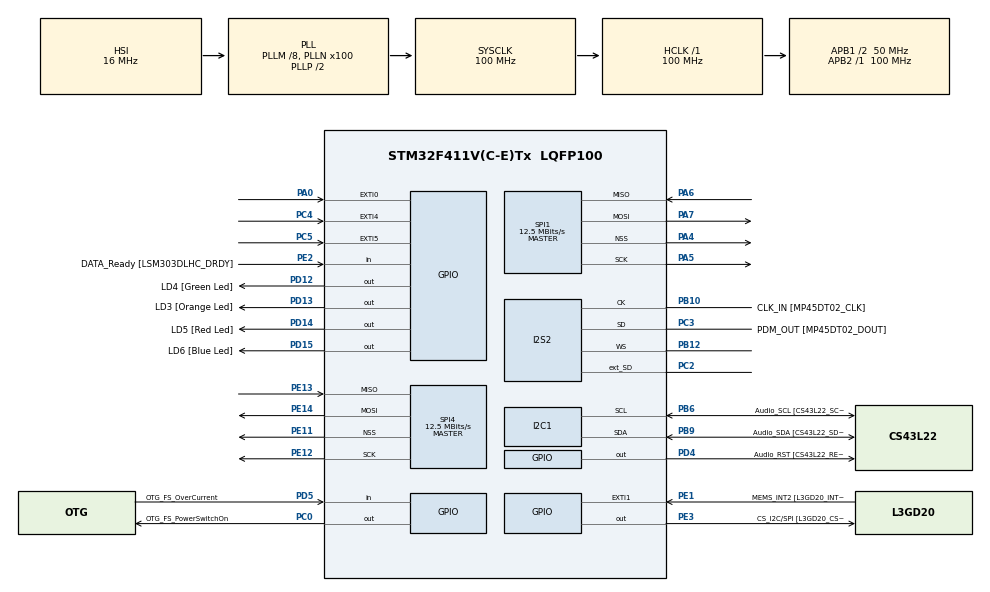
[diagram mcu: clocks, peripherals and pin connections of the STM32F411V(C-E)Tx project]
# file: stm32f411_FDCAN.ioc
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I2S2.AudioFreq=I2S_AUDIOFREQ_96K
I2S2.ErrorAudioFreq=0.15 %
I2S2.FullDuplexMode=I2S_FULLDUPLEXMODE_ENABLE
I2S2.Instance=SPI$Index
I2S2.RealAudioFreq=96.153 KHz
I2S2.VirtualMode=I2S_MODE_MASTER
Mcu.Family=STM32F4
Mcu.Name=STM32F411V(C-E)Tx
Mcu.Package=LQFP100
NVIC.EXTI0_IRQn=true\:0\:0\:false\:false\:true\:true\:true\:true
NVIC.EXTI9_5_IRQn=true\:0\:0\:false\:false\:true\:true\:true\:true
NVIC.PriorityGroup=NVIC_PRIORITYGROUP_0
NVIC.SPI1_IRQn=true\:0\:0\:false\:false\:true\:true\:true\:true
NVIC.SPI4_IRQn=true\:0\:0\:false\:false\:true\:true\:true\:true
NVIC.TIM1_TRG_COM_TIM11_IRQn=true\:0\:0\:false\:false\:true\:true\:true\:true
NVIC.TIM1_UP_TIM10_IRQn=true\:0\:0\:false\:false\:true\:true\:true\:true
NVIC.TIM4_IRQn=true\:0\:0\:false\:false\:true\:true\:true\:true
PA0-WKUP.GPIO_ModeDefaultEXTI=GPIO_MODE_IT_RISING_FALLING
PA0-WKUP.GPIO_PuPd=GPIO_NOPULL
PA0-WKUP.Signal=GPXTI0
PA10.GPIO_Label=OTG_FS_ID
PA10.Signal=USB_OTG_FS_ID
PA11.GPIO_Label=OTG_FS_DM
PA11.Signal=USB_OTG_FS_DM
PA12.GPIO_Label=OTG_FS_DP
PA12.Signal=USB_OTG_FS_DP
PA13.GPIO_Label=SWDIO
PA13.Mode=Serial_Wire
PA13.Signal=SYS_JTMS-SWDIO
PA14.GPIO_Label=SWCLK
PA14.Mode=Serial_Wire
PA14.Signal=SYS_JTCK-SWCLK
PA4.Mode=NSS_Signal_Hard_Output
PA4.Signal=SPI1_NSS
PA5.Mode=Full_Duplex_Master
PA5.Signal=SPI1_SCK
PA6.Mode=Full_Duplex_Master
PA6.Signal=SPI1_MISO
PA7.Mode=Full_Duplex_Master
PA7.Signal=SPI1_MOSI
PA9.GPIO_Label=VBUS_FS
PA9.Signal=USB_OTG_FS_VBUS
PB10.GPIO_Label=CLK_IN [MP45DT02_CLK]
PB10.Mode=Full_Duplex_Master
PB10.Signal=I2S2_CK
PB12.Mode=Full_Duplex_Master
PB12.Signal=I2S2_WS
PB3.GPIO_Label=SWO
PB3.Signal=SYS_JTDO-SWO
PB6.GPIO_Label=Audio_SCL [CS43L22_SCL]
PB6.GPIO_Mode=GPIO_MODE_AF_OD
PB6.GPIO_Pu=GPIO_PULLUP
PB6.GPIO_PuPd=GPIO_NOPULL
PB6.GPIO_Speed=GPIO_SPEED_FREQ_LOW
PB6.Mode=I2C
PB6.Signal=I2C1_SCL
PB9.GPIO_Label=Audio_SDA [CS43L22_SDA]
PB9.GPIO_Mode=GPIO_MODE_AF_OD
PB9.GPIO_Pu=GPIO_PULLUP
PB9.GPIO_PuPd=GPIO_NOPULL
PB9.GPIO_Speed=GPIO_SPEED_FREQ_LOW
PB9.Mode=I2C
PB9.Signal=I2C1_SDA
PC0.GPIO_Label=OTG_FS_PowerSwitchOn
PC0.PinState=GPIO_PIN_SET
PC0.Signal=GPIO_Output
PC10.GPIO_Label=I2S3_SCK [CS43L22_SCLK]
PC10.GPIO_Mode=GPIO_MODE_AF_PP
PC10.GPIO_PuPd=GPIO_NOPULL
PC10.GPIO_Speed=GPIO_SPEED_FREQ_LOW
PC10.Signal=I2S3_CK
PC12.GPIO_Label=I2S3_SD [CS43L22_SDIN]
PC12.GPIO_Mode=GPIO_MODE_AF_PP
PC12.GPIO_PuPd=GPIO_NOPULL
PC12.GPIO_Speed=GPIO_SPEED_FREQ_LOW
PC12.Signal=I2S3_SD
PC14-OSC32_IN.GPIO_Label=PC14-OSC32_IN
PC14-OSC32_IN.Signal=RCC_OSC32_IN
PC15-OSC32_OUT.GPIO_Label=PC15-OSC32_OUT
PC15-OSC32_OUT.Signal=RCC_OSC32_OUT
PC2.Mode=Full_Duplex_Master
PC2.Signal=I2S2_ext_SD
PC3.GPIO_Label=PDM_OUT [MP45DT02_DOUT]
PC3.Mode=Full_Duplex_Master
PC3.Signal=I2S2_SD
PC4.Signal=GPXTI4
PC5.GPIO_ModeDefaultEXTI=GPIO_MODE_IT_FALLING
PC5.Signal=GPXTI5
PC7.GPIO_Label=I2S3_MCK [CS43L22_MCLK]
PC7.GPIO_Mode=GPIO_MODE_AF_PP
PC7.GPIO_PuPd=GPIO_NOPULL
PC7.GPIO_Speed=GPIO_SPEED_FREQ_LOW
PC7.Signal=I2S3_MCK
PD12.GPIO_Label=LD4 [Green Led]
PD12.GPIO_PuPd=GPIO_NOPULL
PD12.GPIO_Speed=GPIO_SPEED_FREQ_LOW
PD12.Signal=GPIO_Output
PD13.GPIO_Label=LD3 [Orange Led]
PD13.GPIO_PuPd=GPIO_NOPULL
PD13.GPIO_Speed=GPIO_SPEED_FREQ_LOW
PD13.Signal=GPIO_Output
PD14.GPIO_Label=LD5 [Red Led]
PD14.GPIO_PuPd=GPIO_NOPULL
PD14.GPIO_Speed=GPIO_SPEED_FREQ_LOW
PD14.Signal=GPIO_Output
PD15.GPIO_Label=LD6 [Blue Led]
PD15.GPIO_PuPd=GPIO_NOPULL
PD15.GPIO_Speed=GPIO_SPEED_FREQ_LOW
PD15.Signal=GPIO_Output
PD4.GPIO_Label=Audio_RST [CS43L22_RESET]
PD4.Signal=GPIO_Output
PD5.GPIO_Label=OTG_FS_OverCurrent
PD5.Signal=GPIO_Input
PE1.GPIO_Label=MEMS_INT2 [L3GD20_INT2]
PE1.GPIO_ModeDefaultEXTI=GPIO_MODE_EVT_RISING
PE1.Signal=GPXTI1
PE11.Mode=NSS_Signal_Hard_Output
PE11.Signal=SPI4_NSS
PE12.Mode=Full_Duplex_Master
PE12.Signal=SPI4_SCK
PE13.Mode=Full_Duplex_Master
PE13.Signal=SPI4_MISO
PE14.Mode=Full_Duplex_Master
PE14.Signal=SPI4_MOSI
PE2.GPIO_Label=DATA_Ready [LSM303DLHC_DRDY]
PE2.Signal=GPIO_Input
PE3.GPIO_Label=CS_I2C/SPI [L3GD20_CS_I2C/SPI]
PE3.Signal=GPIO_Output
PH0\ -\ OSC_IN.GPIO_Label=PH0-OSC_IN
PH0\ -\ OSC_IN.Signal=RCC_OSC_IN
PH1\ -\ OSC_OUT.GPIO_Label=PH1-OSC_OUT
PH1\ -\ OSC_OUT.Signal=RCC_OSC_OUT
ProjectManager.HeapSize=0x200
ProjectManager.StackSize=0x400
ProjectManager.TargetToolchain=STM32CubeIDE
RCC.48MHZClocksFreq_Value=25000000
RCC.AHBFreq_Value=100000000
RCC.APB1CLKDivider=RCC_HCLK_DIV2
RCC.APB1Freq_Value=50000000
RCC.APB1TimFreq_Value=100000000
RCC.APB2Freq_Value=100000000
RCC.APB2TimFreq_Value=100000000
RCC.CortexFreq_Value=100000000
RCC.HCLKFreq_Value=100000000
RCC.HSE_VALUE=8000000
RCC.HSI_VALUE=16000000
RCC.LSE_VALUE=32768
RCC.PLLI2SM=10
RCC.PLLI2SN=200
RCC.PLLM=8
RCC.PLLN=100
RCC.PLLQ=8
RCC.SYSCLKFreq_VALUE=100000000
RCC.SYSCLKSource=RCC_SYSCLKSOURCE_PLLCLK
RCC.VCOOutputFreq_Value=200000000
SPI1.BaudRatePrescaler=SPI_BAUDRATEPRESCALER_8
SPI1.CLKPhase=SPI_PHASE_2EDGE
SPI1.CLKPolarity=SPI_POLARITY_HIGH
SPI1.CalculateBaudRate=12.5 MBits/s
SPI1.Direction=SPI_DIRECTION_2LINES
SPI1.Mode=SPI_MODE_MASTER
SPI1.VirtualNSS=VM_NSSHARD
SPI1.VirtualType=VM_MASTER
SPI4.BaudRatePrescaler=SPI_BAUDRATEPRESCALER_8
SPI4.CLKPhase=SPI_PHASE_2EDGE
SPI4.CLKPolarity=SPI_POLARITY_HIGH
SPI4.CalculateBaudRate=12.5 MBits/s
SPI4.Direction=SPI_DIRECTION_2LINES
SPI4.Mode=SPI_MODE_MASTER
SPI4.VirtualNSS=VM_NSSHARD
SPI4.VirtualType=VM_MASTER
TIM10.Period=999
TIM10.Prescaler=99
TIM11.Period=1000-1
TIM11.Prescaler=100-1
TIM4.Period=999
TIM4.Prescaler=99
VP_TIM10_VS_ClockSourceINT.Mode=Enable_Timer
VP_TIM11_VS_ClockSourceINT.Mode=Enable_Timer
VP_TIM4_VS_ClockSourceINT.Mode=Internal
board=STM32F411E-DISCO

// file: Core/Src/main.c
/* USER CODE BEGIN Header */
/**
  ******************************************************************************
  * @file           : main.c
  * @brief          : Main program body
  ******************************************************************************
  * @attention
  *
  * Copyright (c) 2024 STMicroelectronics.
  * All rights reserved.
  *
  * This software is licensed under terms that can be found in the LICENSE file
  * in the root directory of this software component.
  * If no LICENSE file comes with this software, it is provided AS-IS.
  *
  ******************************************************************************
  */
/* USER CODE END Header */
#include "main.h"
#include "i2c.h"
#include "i2s.h"
#include "spi.h"
#include "tim.h"
#include "gpio.h"

/* USER CODE BEGIN Includes */
#include "drv_spi.h"

/* USER CODE END Includes */

/* USER CODE BEGIN PV */
uint32_t counter_timer_1 = 0;
uint32_t g_counter = 0;
uint32_t counter_btn = 0;

uint8_t flag_send_frame = 0;
uint8_t flag_enable_btn = 0;
uint16_t counter_delay_btn = 0;

uint8_t RX_Buffer[BUFFER_SIZE] = {0};
uint8_t TX_Buffer[10] = {0};

//struct canfd_frame frame;

/* USER CODE END PV */

void SystemClock_Config(void);

int main(void)
{

  /* MCU Configuration--------------------------------------------------------*/

  /* Reset of all peripherals, Initializes the Flash interface and the Systick. */
  HAL_Init();

  /* Configure the system clock */
  SystemClock_Config();

  /* Initialize all configured peripherals */
  MX_GPIO_Init();
  MX_I2C1_Init();
  MX_I2S2_Init();
  MX_SPI1_Init();
  MX_TIM11_Init();
  MX_TIM10_Init();
  MX_TIM4_Init();
  MX_SPI4_Init();
  /* USER CODE BEGIN 2 */
  HAL_TIM_Base_Start_IT(&htim11);
  HAL_SPI_Transmit(&hspi1, TX_Buffer, sizeof(TX_Buffer), 5000);
  HAL_SPI_Receive_IT(&hspi4, RX_Buffer, BUFFER_SIZE);

  HAL_GPIO_WritePin(GPIOD, GPIO_PIN_12, GPIO_LOW);

  /* USER CODE END 2 */

  /* Infinite loop */
  while (1)
  {

    /* USER CODE BEGIN 3 */
	  g_counter ++;
	  if (g_counter >= 10000) g_counter =0;

	  if (flag_send_frame == 1) {
		  HAL_GPIO_TogglePin(GPIOD, GPIO_PIN_12);
//		  mcp2518fd_transpond();
		  HAL_GPIO_WritePin(GPIOD, GPIO_PIN_14, GPIO_HIGH);
		  mcp2518fd_transmit();
//		  mcp2518fd_receive();
		  HAL_Delay(200);
		  HAL_GPIO_WritePin(GPIOD, GPIO_PIN_14, GPIO_LOW);
		  flag_send_frame = 0;
	  }
  }
  /* USER CODE END 3 */
}

void SystemClock_Config(void)
{
  RCC_OscInitTypeDef RCC_OscInitStruct = {0};
  RCC_ClkInitTypeDef RCC_ClkInitStruct = {0};

  /** Configure the main internal regulator output voltage
  */
  __HAL_RCC_PWR_CLK_ENABLE();
  __HAL_PWR_VOLTAGESCALING_CONFIG(PWR_REGULATOR_VOLTAGE_SCALE1);

  /** Initializes the RCC Oscillators according to the specified parameters
  * in the RCC_OscInitTypeDef structure.
  */
  RCC_OscInitStruct.OscillatorType = RCC_OSCILLATORTYPE_HSI;
  RCC_OscInitStruct.HSIState = RCC_HSI_ON;
  RCC_OscInitStruct.HSICalibrationValue = RCC_HSICALIBRATION_DEFAULT;
  RCC_OscInitStruct.PLL.PLLState = RCC_PLL_ON;
  RCC_OscInitStruct.PLL.PLLSource = RCC_PLLSOURCE_HSI;
  RCC_OscInitStruct.PLL.PLLM = 8;
  RCC_OscInitStruct.PLL.PLLN = 100;
  RCC_OscInitStruct.PLL.PLLP = RCC_PLLP_DIV2;
  RCC_OscInitStruct.PLL.PLLQ = 8;
  if (HAL_RCC_OscConfig(&RCC_OscInitStruct) != HAL_OK)
  {
    Error_Handler();
  }

  /** Initializes the CPU, AHB and APB buses clocks
  */
  RCC_ClkInitStruct.ClockType = RCC_CLOCKTYPE_HCLK|RCC_CLOCKTYPE_SYSCLK
                              |RCC_CLOCKTYPE_PCLK1|RCC_CLOCKTYPE_PCLK2;
  RCC_ClkInitStruct.SYSCLKSource = RCC_SYSCLKSOURCE_PLLCLK;
  RCC_ClkInitStruct.AHBCLKDivider = RCC_SYSCLK_DIV1;
  RCC_ClkInitStruct.APB1CLKDivider = RCC_HCLK_DIV2;
  RCC_ClkInitStruct.APB2CLKDivider = RCC_HCLK_DIV1;

  if (HAL_RCC_ClockConfig(&RCC_ClkInitStruct, FLASH_LATENCY_3) != HAL_OK)
  {
    Error_Handler();
  }
}

/* USER CODE BEGIN 4 */

//void HAL_TIM_PeriodElapsedCallback(TIM_HandleTypeDef *htim)
//{
//  // Check which version of the timer triggered this callback and toggle LED
////  if(counter_timer >= 1000) {
////	  HAL_GPIO_TogglePin(GPIOD, GPIO_PIN_13);
////	  counter_timer = 0;
////  }
////  else {
////	  counter_timer++;
////  }
////	counter_timer_1 ++;
////	if (counter_timer_1 >= 10000) counter_timer_1 = 0;
////  if (htim == &htim4)
////  {
////	  if(counter_timer_1 >= 1000) {
////		  HAL_GPIO_TogglePin(GPIOD, GPIO_PIN_13);
////		  counter_timer_1 = 0;
////	  }
////	  else {
////		  counter_timer_1++;
////	  }
////  }
//
//
//}

void HAL_GPIO_EXTI_Callback(uint16_t GPIO_Pin) {
  if(GPIO_Pin == GPIO_PIN_0){
	  HAL_GPIO_WritePin(GPIOD, GPIO_PIN_12, GPIO_LOW);
//	  HAL_GPIO_TogglePin(GPIOD, GPIO_PIN_12);
//	  mcp2518fd_transpond();
	  counter_btn++;
	  flag_send_frame = 1; //send the frame
	  flag_enable_btn = 1;
  }
}

/* USER CODE END 4 */

void Error_Handler(void)
{
  __disable_irq();
  while (1)
  {
  }
}
